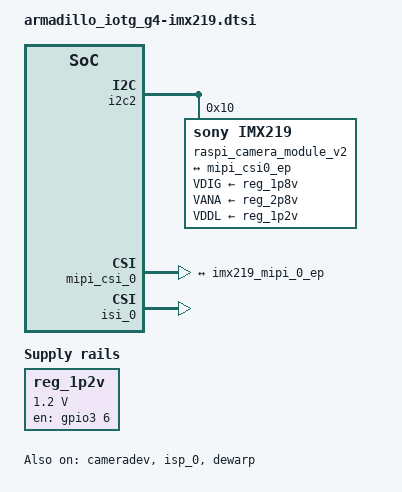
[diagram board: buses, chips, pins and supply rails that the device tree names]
/*
 * Copyright (C) 2021 Atmark Techno, Inc. All Rights Reserved.
 *
 * SPDX-License-Identifier: (GPL-2.0 OR MIT)
 */

/ {
	reg_1p2v: regulator-1p2v {
		compatible = "regulator-fixed";
		pinctrl-names = "default";
		pinctrl-0 = <&pinctrl_imx219_pwn>;
		regulator-name = "1P2V";
		regulator-min-microvolt = <1200000>;
		regulator-max-microvolt = <1200000>;
		gpio = <&gpio3 6 GPIO_ACTIVE_HIGH>;
		enable-active-high;
	};
};

&i2c2 {
	raspi_camera_module_v2: imx219_mipi@10 {
		compatible = "sony,imx219";

		reg = <0x10>;
		#address-cells = <1>;
		#size-cells = <0>;
		clocks = <&raspi_camera_module_v2_clk>;
		clock-names = "csi_mclk";

		/* reset-gpios = <&gpio3 6 GPIO_ACTIVE_HIGH>; */

		/* dummy regulator for raspi camera module v2 */
		VDIG-supply = <&reg_1p8v>; /* 1.8v */
		VANA-supply = <&reg_2p8v>; /* 2.8v */
		VDDL-supply = <&reg_1p2v>; /* 1.2v */

		csi_id = <0>;
		mclk = <24000000>; /* mipi_clk = 24MHz / 3 * 90 = 720 MHz */
		mclk_source = <0>;
		mipi_csi;
		status = "okay";

		raspi_camera_module_v2_clk: camera-clk {
			compatible = "fixed-clock";
			#clock-cells = <0>;
			clock-frequency = <24000000>;
		};

		port {
			imx219_mipi_0_ep: endpoint {
				remote-endpoint = <&mipi_csi0_ep>;
				data-lanes = <1 2>;
				clock-lanes = <0>;
				link-frequencies = /bits/ 64 <456000000>;
			};
		};
	};
};

&iomuxc {
	pinctrl_imx219_pwn: imx219_pwn_grp {
		fsl,pins = <
			MX8MP_IOMUXC_NAND_DATA00__GPIO3_IO06	0x40000100
		>;
	};
};

&mipi_csi_0 {
	#address-cells = <1>;
	#size-cells = <0>;
	status = "okay";

	port@0 {
		reg = <0>;
		mipi_csi0_ep: endpoint {
			remote-endpoint = <&imx219_mipi_0_ep>;
			data-lanes = <2>;
			csis-hs-settle = <13>;
			csis-clk-settle = <2>;
			csis-wclk;
		};
	};
};

&cameradev {
	status = "okay";
};

&isi_0 {
	status = "okay";

	cap_device {
		status = "okay";
	};

	m2m_device {
		status = "okay";
	};
};

&isp_0 {
	status = "okay";
};

&dewarp {
	status = "okay";
};
